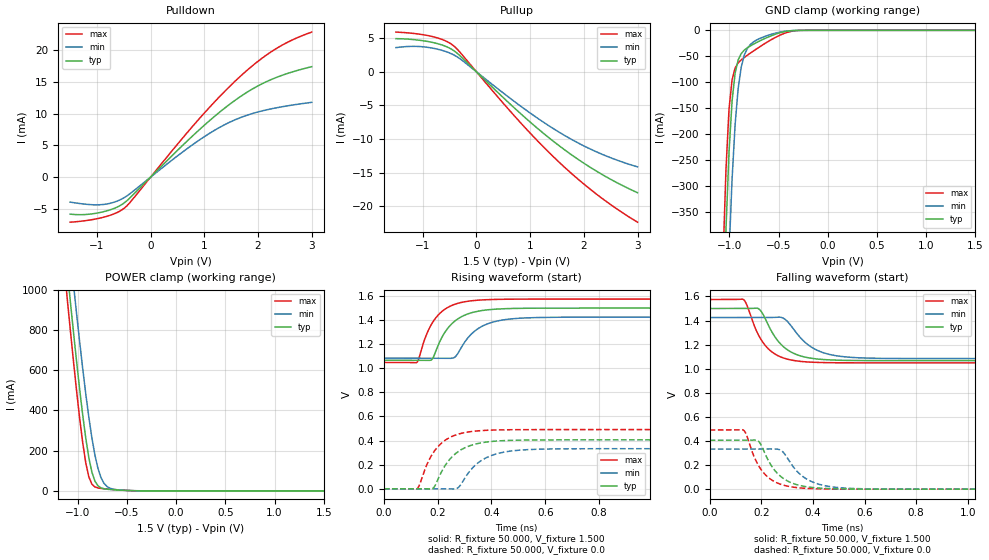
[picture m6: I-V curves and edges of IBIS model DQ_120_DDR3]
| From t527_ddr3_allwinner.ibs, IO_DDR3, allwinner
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|   Model DQ_120_DDR3
[Model] DQ_120_DDR3
Model_type I/O
Polarity   Non-Inverting
Enable   Active-Low
Vinl =  0.750V
Vinh =  0.750V
C_comp   1.592pF   1.556pF   1.635pF
C_comp_pullup   0.524pF   0.507pF   0.545pF
C_comp_pulldown   0.803pF   0.785pF   0.826pF
[Model Spec]
Vinh   0.750V   0.712V   0.787V
Vinl   0.750V   0.712V   0.787V
[Temperature Range]   25.000   0.125k   -40.000
[Voltage Range]   1.500V   1.425V   1.575V
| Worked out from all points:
|   slope of the pulldown table from 0 to 0.225 V, typ, clamps not added: 118 ohm
|   slope of the pullup table from 0 to 0.225 V, typ, clamps not added: 129 ohm
|   GND clamp passes 1 mA (typ) near -0.39 V on its own axis
|   POWER clamp passes 1 mA (typ) near -0.43 V on its own axis
|   rising waveform, R_fixture 50.000, V_fixture 1.500: 20-80 % time 82ps typ, 89.6ps min, 75.2ps max; typ from 1.07 V to 1.5 V
|   rising waveform, R_fixture 50.000, V_fixture 0.0: 20-80 % time 86.2ps typ, 93.8ps min, 79.3ps max; typ from 0 V to 0.406 V
|   falling waveform, R_fixture 50.000, V_fixture 1.500: 20-80 % time 87.8ps typ, 102ps min, 78.8ps max; typ from 1.5 V to 1.07 V
|   falling waveform, R_fixture 50.000, V_fixture 0.0: 20-80 % time 82.5ps typ, 92.1ps min, 74.8ps max; typ from 0.406 V to 0 V
[Pulldown]
|Voltage   I(typ)   I(min)   I(max)
-1.5V     -5.819mA   -3.923mA   -7.091mA
-1.224V   -5.889mA   -4.252mA   -6.862mA
-902mV    -5.489mA   -4.321mA   -6.362mA
-672mV    -4.895mA   -3.922mA   -5.747mA
-488mV    -4.033mA   -3.212mA   -4.862mA
846mV     6.98mA     5.478mA    8.606mA
1.214V    9.716mA    7.479mA    12.03mA
1.582V    12.13mA    9.048mA    15.16mA
1.95V     14.12mA    10.13mA    17.88mA
2.272V    15.44mA    10.78mA    19.86mA
2.594V    16.43mA    11.27mA    21.39mA
3V        17.37mA    11.76mA    22.81mA
[Pullup]
|Voltage   I(typ)   I(min)   I(max)
-1.5V     4.935mA    3.606mA    5.915mA
-1.232V   4.839mA    3.785mA    5.765mA
-956mV    4.579mA    3.691mA    5.471mA
-680mV    4.091mA    3.281mA    4.928mA
-450mV    3.296mA    2.625mA    4.025mA
-312mV    2.428mA    1.97mA     2.959mA
792mV     -6.004mA   -4.927mA   -7.322mA
1.482V    -10.65mA   -8.705mA   -13.02mA
1.85V     -12.8mA    -10.41mA   -15.69mA
2.218V    -14.7mA    -11.85mA   -18.1mA
2.586V    -16.38mA   -13.05mA   -20.25mA
3V        -18mA      -14.15mA   -22.39mA
[GND_clamp]
|Voltage   I(typ)   I(min)   I(max)
-1.5V     -3.542A    -3.63A     -3.522A
-1.066V   -574.9mA   -807mA     -446.3mA
-1.035V   -383.4mA   -606.8mA   -267.9mA
-1.004V   -234mA     -430.3mA   -151.7mA
-973mV    -135.8mA   -286.6mA   -95.12mA
-942mV    -82.41mA   -181mA     -72.43mA
-911mV    -56.9mA    -111.8mA   -62.62mA
-880mV    -44.73mA   -70.74mA   -56.82mA
-849mV    -38.08mA   -47.74mA   -52.2mA
-756mV    -26.67mA   -22.36mA   -39.79mA
-322mV    -204.2uA   -258.8uA   -609.2uA
1.5V      0A         0A         0A
[POWER_clamp]
|Voltage   I(typ)   I(min)   I(max)
-1.5V     3.137A     3.334A     3.027A
-1.135V   1.239A     1.47A      1.1A
-1.104V   1.085A     1.319A     943.4mA
-1.073V   933.1mA    1.169A     789.3mA
-1.042V   784.9mA    1.022A     639.4mA
-1.011V   641.4mA    879mA      495.4mA
-918mV    261.7mA    482mA      139mA
-887mV    165.4mA    366.5mA    69.82mA
-825mV    48.42mA    178mA      19.77mA
-732mV    10.66mA    37.14mA    10.79mA
-608mV    4.953mA    6.242mA    6.01mA
1.5V      0A         0A         0A
[Ramp]
| variable   typ   min   max
dV/dt_r   0.244/86.185p   0.200/93.797p   0.295/79.313p
dV/dt_f   0.260/87.836p   0.204/0.102n   0.316/78.832p
R_load = 50.000
[Rising Waveform]
R_fixture= 50.000
V_fixture= 1.500
V_fixture_min= 1.425
V_fixture_max= 1.575
|time   V(typ)   V(min)   V(max)
0s        1.067V     1.084V     1.049V
123ps     1.067V     1.084V     1.05V
155ps     1.066V     1.084V     1.261V
176ps     1.069V     1.084V     1.362V
222ps     1.282V     1.083V     1.483V
262ps     1.389V     1.09V      1.53V
322ps     1.459V     1.277V     1.56V
400ps     1.489V     1.38V      1.571V
530ps     1.499V     1.419V     1.575V
2ns       1.5V       1.425V     1.575V
[Rising Waveform]
R_fixture= 50.000
V_fixture= 0.0
V_fixture_min= 0.0
V_fixture_max= 0.0
|time   V(typ)   V(min)   V(max)
0s        8.469uV    138.8uV    934.8nV
123ps     110.9uV    150.1uV    -25.72uV
132ps     219.4uV    207.5uV    30.13mV
180ps     -202.4uV   199.5uV    287.1mV
231ps     203.8mV    112.4uV    407.5mV
272ps     301.5mV    2.921mV    450.4mV
336ps     368.6mV    187.6mV    478.1mV
417ps     395.9mV    288.8mV    488.3mV
555ps     405.1mV    327mV      491.2mV
2ns       406.2mV    332.7mV    491.5mV
[Falling Waveform]
R_fixture= 50.000
V_fixture= 1.500
V_fixture_min= 1.425
V_fixture_max= 1.575
|time   V(typ)   V(min)   V(max)
0s        1.5V       1.425V     1.575V
131ps     1.5V       1.425V     1.574V
144ps     1.5V       1.425V     1.529V
189ps     1.499V     1.425V     1.28V
229ps     1.354V     1.425V     1.161V
282ps     1.19V      1.423V     1.092V
340ps     1.115V     1.287V     1.064V
426ps     1.079V     1.144V     1.052V
569ps     1.068V     1.092V     1.049V
2ns       1.067V     1.084V     1.049V
[Falling Waveform]
R_fixture= 50.000
V_fixture= 0.0
V_fixture_min= 0.0
V_fixture_max= 0.0
|time   V(typ)   V(min)   V(max)
0s        406.2mV    332.7mV    491.5mV
131ps     406.1mV    332.7mV    489.8mV
185ps     403.4mV    332.7mV    212mV
198ps     371.1mV    332.7mV    166.4mV
225ps     246.8mV    333.2mV    101mV
276ps     104.1mV    322.7mV    39.6mV
337ps     37.57mV    151.4mV    13.01mV
416ps     10.13mV    45.56mV    3.064mV
556ps     999.4uV    5.682mV    237uV
2ns       8.486uV    138.9uV    937.6nV
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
